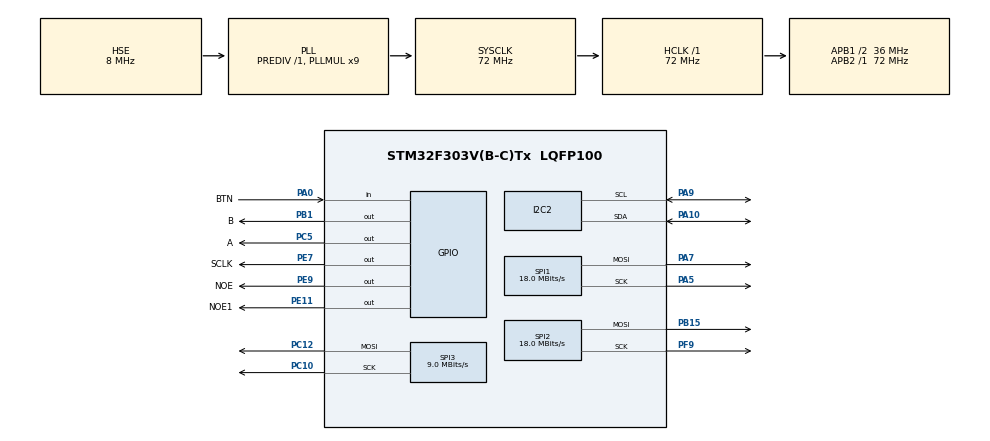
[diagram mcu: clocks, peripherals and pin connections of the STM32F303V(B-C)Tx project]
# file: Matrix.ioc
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I2C2.OwnAddress=0
Mcu.Family=STM32F3
Mcu.Name=STM32F303V(B-C)Tx
Mcu.Package=LQFP100
NVIC.I2C2_EV_IRQn=true\:0\:0\:false\:false\:true\:true\:true
NVIC.PriorityGroup=NVIC_PRIORITYGROUP_4
PA0.GPIO_Label=BTN
PA0.Signal=GPIO_Input
PA10.GPIO_Pu=GPIO_PULLUP
PA10.Mode=I2C
PA10.Signal=I2C2_SDA
PA13.Mode=Serial_Wire
PA13.Signal=SYS_JTMS-SWDIO
PA14.Mode=Serial_Wire
PA14.Signal=SYS_JTCK-SWCLK
PA5.Mode=TX_Only_Simplex_Unidirect_Master
PA5.Signal=SPI1_SCK
PA7.Mode=TX_Only_Simplex_Unidirect_Master
PA7.Signal=SPI1_MOSI
PA9.GPIO_Pu=GPIO_PULLUP
PA9.Mode=I2C
PA9.Signal=I2C2_SCL
PB1.GPIO_Label=B
PB1.Signal=GPIO_Output
PB15.Mode=TX_Only_Simplex_Unidirect_Master
PB15.Signal=SPI2_MOSI
PC10.Mode=TX_Only_Simplex_Unidirect_Master
PC10.Signal=SPI3_SCK
PC12.Mode=TX_Only_Simplex_Unidirect_Master
PC12.Signal=SPI3_MOSI
PC5.GPIO_Label=A
PC5.Signal=GPIO_Output
PE11.GPIO_Label=NOE1
PE11.Signal=GPIO_Output
PE7.GPIO_Label=SCLK
PE7.Signal=GPIO_Output
PE9.GPIO_Label=NOE
PE9.Signal=GPIO_Output
PF0-OSC_IN.Mode=HSE-External-Oscillator
PF0-OSC_IN.Signal=RCC_OSC_IN
PF1-OSC_OUT.Mode=HSE-External-Oscillator
PF1-OSC_OUT.Signal=RCC_OSC_OUT
PF9.Mode=TX_Only_Simplex_Unidirect_Master
PF9.Signal=SPI2_SCK
ProjectManager.HeapSize=0x200
ProjectManager.StackSize=0x400
ProjectManager.TargetToolchain=STM32CubeIDE
RCC.AHBFreq_Value=72000000
RCC.APB1CLKDivider=RCC_HCLK_DIV2
RCC.APB1Freq_Value=36000000
RCC.APB1TimFreq_Value=72000000
RCC.APB2Freq_Value=72000000
RCC.APB2TimFreq_Value=72000000
RCC.CortexFreq_Value=72000000
RCC.HCLKFreq_Value=72000000
RCC.HSE_VALUE=8000000
RCC.HSI_VALUE=8000000
RCC.LSE_VALUE=32768
RCC.PLLMUL=RCC_PLL_MUL9
RCC.PLLSourceVirtual=RCC_PLLSOURCE_HSE
RCC.SYSCLKFreq_VALUE=72000000
RCC.SYSCLKSourceVirtual=RCC_SYSCLKSOURCE_PLLCLK
RCC.USBFreq_Value=72000000
SPI1.BaudRatePrescaler=SPI_BAUDRATEPRESCALER_4
SPI1.CalculateBaudRate=18.0 MBits/s
SPI1.Direction=SPI_DIRECTION_2LINES
SPI1.Mode=SPI_MODE_MASTER
SPI1.VirtualType=VM_MASTER
SPI2.BaudRatePrescaler=SPI_BAUDRATEPRESCALER_2
SPI2.CalculateBaudRate=18.0 MBits/s
SPI2.DataSize=SPI_DATASIZE_8BIT
SPI2.Direction=SPI_DIRECTION_2LINES
SPI2.Mode=SPI_MODE_MASTER
SPI2.VirtualType=VM_MASTER
SPI3.BaudRatePrescaler=SPI_BAUDRATEPRESCALER_4
SPI3.CalculateBaudRate=9.0 MBits/s
SPI3.DataSize=SPI_DATASIZE_8BIT
SPI3.Direction=SPI_DIRECTION_2LINES
SPI3.Mode=SPI_MODE_MASTER
SPI3.VirtualType=VM_MASTER
board=custom

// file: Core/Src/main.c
/* USER CODE BEGIN Header */
/**
  ******************************************************************************
  * @file           : main.c
  * @brief          : Main program body
  ******************************************************************************
  * @attention
  *
  * <h2><center>&copy; Copyright (c) 2023 STMicroelectronics.
  * All rights reserved.</center></h2>
  *
  * This software component is licensed by ST under BSD 3-Clause license,
  * the "License"; You may not use this file except in compliance with the
  * License. You may obtain a copy of the License at:
  *                        opensource.org/licenses/BSD-3-Clause
  *
  ******************************************************************************
  */
/* USER CODE END Header */
#include "main.h"

I2C_HandleTypeDef hi2c2;

SPI_HandleTypeDef hspi1;
SPI_HandleTypeDef hspi2;
SPI_HandleTypeDef hspi3;

/* USER CODE BEGIN PV */
uint8_t datatest[16];
uint8_t fulldata[64];

volatile int msec = 0;
float time = 0.001;
float k = 1;
float psi = 0.10;
float w = 0;
float T = 0.9;
float e = 2.7;
float h = 0;
int counter = 0;
float Arrhk[500];
float Arrtk[500];
float hk=0;
float tk=0;
float x_scale = 0.1;
int x_scale_counter = 0;
float temp_h = 0;
int flag=0;
float step_h = 0.150;
float step_time = 0.3;
int counter_temp=0;;
float hktemp = 0;
uint8_t Arr_control[4][16];
uint8_t mask = 0b10000000;
int row=0;
int col = 0;
uint8_t data_00[16];
uint8_t data_01[16];
uint8_t data_10[16];
uint8_t data_11[16];
int A;
int B;
int AB_counter=0;
int Matrix_Transfer_Flag = 1;
uint8_t testdata[16] = {0b00001111,0b00001111,0b00001111,0b00001111,0b00001111,0b00001111,0b00001111,0b00001111,0b00001111,0b00001111,0b00001111,0b00001111,0b00001111,0b00001111,0b00001111,0b00001111};
uint8_t cleardata[16] = {0xFF,0xFF,0xFF,0xFF,0xFF,0xFF,0xFF,0xFF,0xFF,0xFF,0xFF,0xFF,0xFF,0xFF,0xFF,0xFF};
uint8_t testdata2[16] = {0x10,0x10,0x10,0x10,0x10,0x10,0x10,0x10,0x10,0x10,0x10,0x10,0x10,0x10,0x10,0x10};
uint8_t testdata3[16] = {0x33,0x33,0x33,0x33,0x33,0x33,0x33,0x33,0x33,0x33,0x33,0x33,0x33,0x33,0x33,0x33};
uint8_t cleardat = 0x30;
float temp_hk;
float temp_tk;
uint8_t diodes_byte;
uint8_t shifted_bit;
int btn;
float pressed_flag;
float a;
float imp = 0;
float imp_time = 0;

/* USER CODE END PV */

void SystemClock_Config(void);
static void MX_GPIO_Init(void);
static void MX_SPI2_Init(void);
static void MX_SPI3_Init(void);
static void MX_SPI1_Init(void);
static void MX_I2C2_Init(void);

int main(void)
{
  /* USER CODE BEGIN 1 */
//  for (int i =0; i<16;i++){
//	  data_11[i] =0xff;
//	  data_10[i] =0xff;
//	  data_01[i] =0xff;
//	  data_00[i] =0xff;
//  }
//  w = sqrt(1-pow(psi,2))/T;
//  a = psi/T;
//  pressed_flag = 0;
//  imp_time = 0;
//  imp = 0;

  /* USER CODE END 1 */

  /* MCU Configuration--------------------------------------------------------*/

  /* Reset of all peripherals, Initializes the Flash interface and the Systick. */
  HAL_Init();

  /* Configure the system clock */
  SystemClock_Config();

  /* Initialize all configured peripherals */
  MX_GPIO_Init();
  MX_SPI2_Init();
  MX_SPI3_Init();
  MX_SPI1_Init();
  MX_I2C2_Init();

  /* Infinite loop */
  /* USER CODE BEGIN WHILE */
  while (1)
  {

//	  btn = HAL_GPIO_ReadPin(BTN_GPIO_Port, BTN_Pin);
//	  	  	if(btn){
//	  	  		pressed_flag = 1;
//	  	  		imp_time = time;
//	  	  	}
//
//
//
//	  	  h = (k * (  1-pow(e,-psi*time/T) * (cos(w*time)+  (psi/sqrt(1-pow(psi,2)))*sin(w*time) )  ) )+pressed_flag*(k/1.7*((w+pow(a,2))/w)*sin(w*(time-imp_time))*pow(e,-a*(time-imp_time)));//расчёт значение переходной функции
//		  hk = round(h / step_h) * step_h; //квантование  значений функции
//		  tk = round(time / step_time) * step_time; //квантование  времени
//		  if(tk!= temp_tk || hk!= temp_hk){
//			  temp_tk = tk;
//			  temp_hk = hk;
//			  col = round(tk/step_time);
//			  row = round(hk/step_h);
//			  diodes_byte = ~(mask>>(col%8));
//			  if(col<=31){
//				  if(row%4==0){
//					  data_11[4*(col/8)+row/4]&=diodes_byte;
//				  }
//				  else if(row%4==1){
//					  data_01[4*(col/8)+row/4]&=diodes_byte;
//				  }
//				  else if(row%4==2){
//					  data_10[4*(col/8)+row/4]&=diodes_byte;
//				  }
//				  else if(row%4==3){
//					  data_00[4*(col/8)+row/4]&=diodes_byte;
//				  }
//			  }
//			  else{
//				  for(int i =0;i<12;i++){
//					  shifted_bit = (data_11[i+4] >> 7) & 1;
//					  data_11[i]<<=1;
//					  data_11[i]|=shifted_bit;
//				  }
//				  for(int i =0;i<12;i++){
//					  shifted_bit = (data_10[i+4] >> 7) & 1;
//					  data_10[i]<<=1;
//					  data_10[i]|=shifted_bit;
//				  }
//				  for(int i =0;i<12;i++){
//					  shifted_bit = (data_01[i+4] >> 7) & 1;
//					  data_01[i]<<=1;
//					  data_01[i]|=shifted_bit;
//				  }
//				  for(int i =0;i<12;i++){
//					  shifted_bit = (data_00[i+4] >> 7) & 1;
//					  data_00[i]<<=1;
//					  data_00[i]|=shifted_bit;
//				  }
//
//
//
//
//
//				  for(int i =0;i<3;i++){
//					  data_11[12+i]<<=1;
//					  data_11[12+i]|=0b00000001;
//				  }
//				  for(int i =0;i<3;i++){
//					  data_10[12+i]<<=1;
//					  data_10[12+i]|=0b00000001;
//				  }
//				  for(int i =0;i<3;i++){
//					  data_01[12+i]<<=1;
//					  data_01[12+i]|=0b00000001;
//				  }
//				  for(int i =0;i<3;i++){
//					  data_00[12+i]<<=1;
//					  data_00[12+i]|=0b00000001;
//				  }
//
//
//
//				  if(row%4==0){
//
//					  shifted_bit =((diodes_byte <<col%8)>>7) & 1;
//					  shifted_bit|=0b11111110;
//					  data_11[12+row/4]&=shifted_bit;
//				  }
//				  if(row%4==1){
//
//					  shifted_bit =((diodes_byte <<col%8)>>7) & 1;
//					  shifted_bit|=0b11111110;
//					  data_01[12+row/4]&=shifted_bit;
//				  }
//				  if(row%4==2){
//
//					  shifted_bit =((diodes_byte <<col%8)>>7) & 1;
//					  shifted_bit|=0b11111110;
//					  data_10[12+row/4]&=shifted_bit;
//				  }
//				  if(row%4==3){
//
//					  shifted_bit =((diodes_byte <<col%8)>>7) & 1;
//					  shifted_bit|=0b11111110;
//					  data_00[12+row/4]&=shifted_bit;
//				  }
//
//
//			  }
//
//
//
//		  }
//		  time+=0.01;

	  HAL_I2C_Master_Receive_IT(&hi2c2, 10<<1, &fulldata, 64);

	  for(int i = 0; i<16;i++){

		  data_00[i] = fulldata[i];
	  }
	  for(int i = 0; i<16;i++){
		  data_01[i] = fulldata[16+i];
	  }
	  for(int i = 0; i<16;i++){
		  data_10[i] = fulldata[32+i];
	  }
	  for(int i = 0; i<16;i++){
		  data_11[i] = fulldata[48+i];
	  }

	  //	//смена значений A и B
	      A = (AB_counter % 2 == 0) ? 1 : 0;
	      B = (AB_counter / 2 % 2 == 0) ? 1 : 0;
	      AB_counter = (AB_counter + 1) % 4;

	  HAL_GPIO_WritePin(NOE_GPIO_Port, NOE_Pin, GPIO_PIN_RESET);

	  HAL_GPIO_WritePin(A_GPIO_Port, A_Pin, A);
	  HAL_GPIO_WritePin(B_GPIO_Port, B_Pin, B);

      //Отправка данных в зависимости от уровней A и B
      if(A==1 && B==1){
      	HAL_SPI_Transmit(&hspi2, &data_11, 16,10);
    	  //HAL_SPI_Transmit(&hspi2, &datatest, 16,10);
      }
      if(A==0 && B==1){
      	HAL_SPI_Transmit(&hspi2, &data_01, 16,10);
    	  //HAL_SPI_Transmit(&hspi2, &datatest, 16,10);
      }
      if(A==1 && B==0){
      	HAL_SPI_Transmit(&hspi2, &data_10, 16,10);
    	  //HAL_SPI_Transmit(&hspi2, &datatest, 16,10);
      }
      if(A==0 && B==0){
      	HAL_SPI_Transmit(&hspi2, &data_00, 16,10);
    	  //HAL_SPI_Transmit(&hspi2, &datatest, 16,10);
      }

	  HAL_GPIO_WritePin(SCLK_GPIO_Port, SCLK_Pin, GPIO_PIN_RESET);
	  HAL_GPIO_WritePin(SCLK_GPIO_Port, SCLK_Pin, GPIO_PIN_SET);

	  HAL_GPIO_WritePin(NOE_GPIO_Port, NOE_Pin, GPIO_PIN_SET);
	  HAL_Delay(1);
    /* USER CODE END WHILE */

  }
}

void SystemClock_Config(void)
{
  RCC_OscInitTypeDef RCC_OscInitStruct = {0};
  RCC_ClkInitTypeDef RCC_ClkInitStruct = {0};
  RCC_PeriphCLKInitTypeDef PeriphClkInit = {0};

  /** Initializes the RCC Oscillators according to the specified parameters
  * in the RCC_OscInitTypeDef structure.
  */
  RCC_OscInitStruct.OscillatorType = RCC_OSCILLATORTYPE_HSI|RCC_OSCILLATORTYPE_HSE;
  RCC_OscInitStruct.HSEState = RCC_HSE_ON;
  RCC_OscInitStruct.HSEPredivValue = RCC_HSE_PREDIV_DIV1;
  RCC_OscInitStruct.HSIState = RCC_HSI_ON;
  RCC_OscInitStruct.HSICalibrationValue = RCC_HSICALIBRATION_DEFAULT;
  RCC_OscInitStruct.PLL.PLLState = RCC_PLL_ON;
  RCC_OscInitStruct.PLL.PLLSource = RCC_PLLSOURCE_HSE;
  RCC_OscInitStruct.PLL.PLLMUL = RCC_PLL_MUL9;
  if (HAL_RCC_OscConfig(&RCC_OscInitStruct) != HAL_OK)
  {
    Error_Handler();
  }
  /** Initializes the CPU, AHB and APB buses clocks
  */
  RCC_ClkInitStruct.ClockType = RCC_CLOCKTYPE_HCLK|RCC_CLOCKTYPE_SYSCLK
                              |RCC_CLOCKTYPE_PCLK1|RCC_CLOCKTYPE_PCLK2;
  RCC_ClkInitStruct.SYSCLKSource = RCC_SYSCLKSOURCE_PLLCLK;
  RCC_ClkInitStruct.AHBCLKDivider = RCC_SYSCLK_DIV1;
  RCC_ClkInitStruct.APB1CLKDivider = RCC_HCLK_DIV2;
  RCC_ClkInitStruct.APB2CLKDivider = RCC_HCLK_DIV1;

  if (HAL_RCC_ClockConfig(&RCC_ClkInitStruct, FLASH_LATENCY_2) != HAL_OK)
  {
    Error_Handler();
  }
  PeriphClkInit.PeriphClockSelection = RCC_PERIPHCLK_I2C2;
  PeriphClkInit.I2c2ClockSelection = RCC_I2C2CLKSOURCE_HSI;
  if (HAL_RCCEx_PeriphCLKConfig(&PeriphClkInit) != HAL_OK)
  {
    Error_Handler();
  }
}

static void MX_I2C2_Init(void)
{

  hi2c2.Instance = I2C2;
  hi2c2.Init.Timing = 0x2000090E;
  hi2c2.Init.OwnAddress1 = 0;
  hi2c2.Init.AddressingMode = I2C_ADDRESSINGMODE_7BIT;
  hi2c2.Init.DualAddressMode = I2C_DUALADDRESS_DISABLE;
  hi2c2.Init.OwnAddress2 = 0;
  hi2c2.Init.OwnAddress2Masks = I2C_OA2_NOMASK;
  hi2c2.Init.GeneralCallMode = I2C_GENERALCALL_DISABLE;
  hi2c2.Init.NoStretchMode = I2C_NOSTRETCH_DISABLE;
  if (HAL_I2C_Init(&hi2c2) != HAL_OK)
  {
    Error_Handler();
  }
  /** Configure Analogue filter
  */
  if (HAL_I2CEx_ConfigAnalogFilter(&hi2c2, I2C_ANALOGFILTER_ENABLE) != HAL_OK)
  {
    Error_Handler();
  }
  /** Configure Digital filter
  */
  if (HAL_I2CEx_ConfigDigitalFilter(&hi2c2, 0) != HAL_OK)
  {
    Error_Handler();
  }

}

static void MX_SPI1_Init(void)
{

  /* SPI1 parameter configuration*/
  hspi1.Instance = SPI1;
  hspi1.Init.Mode = SPI_MODE_MASTER;
  hspi1.Init.Direction = SPI_DIRECTION_2LINES;
  hspi1.Init.DataSize = SPI_DATASIZE_4BIT;
  hspi1.Init.CLKPolarity = SPI_POLARITY_LOW;
  hspi1.Init.CLKPhase = SPI_PHASE_1EDGE;
  hspi1.Init.NSS = SPI_NSS_SOFT;
  hspi1.Init.BaudRatePrescaler = SPI_BAUDRATEPRESCALER_4;
  hspi1.Init.FirstBit = SPI_FIRSTBIT_MSB;
  hspi1.Init.TIMode = SPI_TIMODE_DISABLE;
  hspi1.Init.CRCCalculation = SPI_CRCCALCULATION_DISABLE;
  hspi1.Init.CRCPolynomial = 7;
  hspi1.Init.CRCLength = SPI_CRC_LENGTH_DATASIZE;
  hspi1.Init.NSSPMode = SPI_NSS_PULSE_ENABLE;
  if (HAL_SPI_Init(&hspi1) != HAL_OK)
  {
    Error_Handler();
  }

}

static void MX_SPI2_Init(void)
{

  /* SPI2 parameter configuration*/
  hspi2.Instance = SPI2;
  hspi2.Init.Mode = SPI_MODE_MASTER;
  hspi2.Init.Direction = SPI_DIRECTION_2LINES;
  hspi2.Init.DataSize = SPI_DATASIZE_8BIT;
  hspi2.Init.CLKPolarity = SPI_POLARITY_LOW;
  hspi2.Init.CLKPhase = SPI_PHASE_1EDGE;
  hspi2.Init.NSS = SPI_NSS_SOFT;
  hspi2.Init.BaudRatePrescaler = SPI_BAUDRATEPRESCALER_2;
  hspi2.Init.FirstBit = SPI_FIRSTBIT_MSB;
  hspi2.Init.TIMode = SPI_TIMODE_DISABLE;
  hspi2.Init.CRCCalculation = SPI_CRCCALCULATION_DISABLE;
  hspi2.Init.CRCPolynomial = 7;
  hspi2.Init.CRCLength = SPI_CRC_LENGTH_DATASIZE;
  hspi2.Init.NSSPMode = SPI_NSS_PULSE_ENABLE;
  if (HAL_SPI_Init(&hspi2) != HAL_OK)
  {
    Error_Handler();
  }

}

static void MX_SPI3_Init(void)
{

  /* SPI3 parameter configuration*/
  hspi3.Instance = SPI3;
  hspi3.Init.Mode = SPI_MODE_MASTER;
  hspi3.Init.Direction = SPI_DIRECTION_2LINES;
  hspi3.Init.DataSize = SPI_DATASIZE_8BIT;
  hspi3.Init.CLKPolarity = SPI_POLARITY_LOW;
  hspi3.Init.CLKPhase = SPI_PHASE_1EDGE;
  hspi3.Init.NSS = SPI_NSS_SOFT;
  hspi3.Init.BaudRatePrescaler = SPI_BAUDRATEPRESCALER_4;
  hspi3.Init.FirstBit = SPI_FIRSTBIT_MSB;
  hspi3.Init.TIMode = SPI_TIMODE_DISABLE;
  hspi3.Init.CRCCalculation = SPI_CRCCALCULATION_DISABLE;
  hspi3.Init.CRCPolynomial = 7;
  hspi3.Init.CRCLength = SPI_CRC_LENGTH_DATASIZE;
  hspi3.Init.NSSPMode = SPI_NSS_PULSE_ENABLE;
  if (HAL_SPI_Init(&hspi3) != HAL_OK)
  {
    Error_Handler();
  }

}

static void MX_GPIO_Init(void)
{
  GPIO_InitTypeDef GPIO_InitStruct = {0};

  /* GPIO Ports Clock Enable */
  __HAL_RCC_GPIOF_CLK_ENABLE();
  __HAL_RCC_GPIOA_CLK_ENABLE();
  __HAL_RCC_GPIOC_CLK_ENABLE();
  __HAL_RCC_GPIOB_CLK_ENABLE();
  __HAL_RCC_GPIOE_CLK_ENABLE();

  /*Configure GPIO pin Output Level */
  HAL_GPIO_WritePin(A_GPIO_Port, A_Pin, GPIO_PIN_RESET);

  /*Configure GPIO pin Output Level */
  HAL_GPIO_WritePin(B_GPIO_Port, B_Pin, GPIO_PIN_RESET);

  /*Configure GPIO pin Output Level */
  HAL_GPIO_WritePin(GPIOE, SCLK_Pin|NOE_Pin|NOE1_Pin, GPIO_PIN_RESET);

  /*Configure GPIO pin : BTN_Pin */
  GPIO_InitStruct.Pin = BTN_Pin;
  GPIO_InitStruct.Mode = GPIO_MODE_INPUT;
  GPIO_InitStruct.Pull = GPIO_NOPULL;
  HAL_GPIO_Init(BTN_GPIO_Port, &GPIO_InitStruct);

  /*Configure GPIO pin : A_Pin */
  GPIO_InitStruct.Pin = A_Pin;
  GPIO_InitStruct.Mode = GPIO_MODE_OUTPUT_PP;
  GPIO_InitStruct.Pull = GPIO_NOPULL;
  GPIO_InitStruct.Speed = GPIO_SPEED_FREQ_LOW;
  HAL_GPIO_Init(A_GPIO_Port, &GPIO_InitStruct);

  /*Configure GPIO pin : B_Pin */
  GPIO_InitStruct.Pin = B_Pin;
  GPIO_InitStruct.Mode = GPIO_MODE_OUTPUT_PP;
  GPIO_InitStruct.Pull = GPIO_NOPULL;
  GPIO_InitStruct.Speed = GPIO_SPEED_FREQ_LOW;
  HAL_GPIO_Init(B_GPIO_Port, &GPIO_InitStruct);

  /*Configure GPIO pins : SCLK_Pin NOE_Pin NOE1_Pin */
  GPIO_InitStruct.Pin = SCLK_Pin|NOE_Pin|NOE1_Pin;
  GPIO_InitStruct.Mode = GPIO_MODE_OUTPUT_PP;
  GPIO_InitStruct.Pull = GPIO_NOPULL;
  GPIO_InitStruct.Speed = GPIO_SPEED_FREQ_LOW;
  HAL_GPIO_Init(GPIOE, &GPIO_InitStruct);

}

void Error_Handler(void)
{
  __disable_irq();
  while (1)
  {
  }
}

/************************ (C) COPYRIGHT STMicroelectronics *****END OF FILE****/
